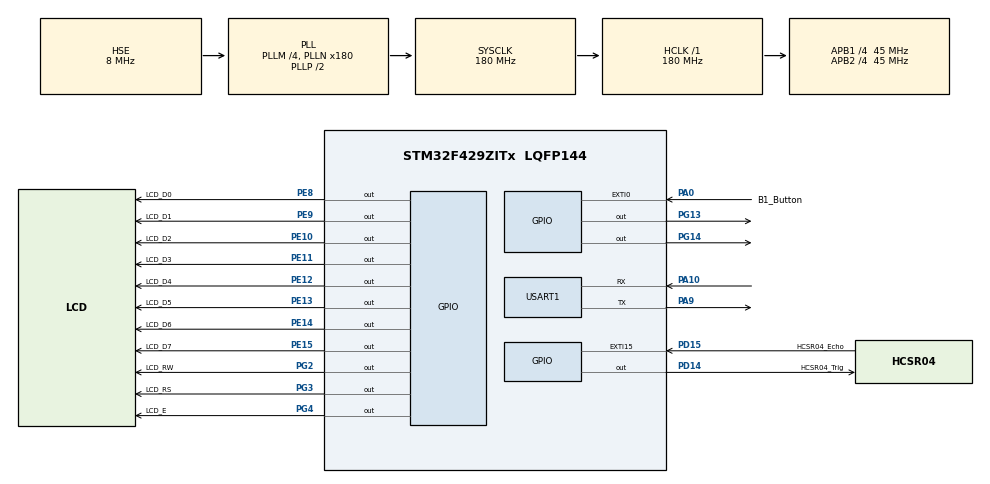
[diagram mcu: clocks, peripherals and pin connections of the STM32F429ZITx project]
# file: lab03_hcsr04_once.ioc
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Mcu.Family=STM32F4
Mcu.Name=STM32F429ZITx
Mcu.Package=LQFP144
NVIC.EXTI0_IRQn=true\:0\:0\:false\:false\:true\:true\:true\:true
NVIC.EXTI15_10_IRQn=true\:0\:0\:false\:false\:true\:true\:true\:true
NVIC.PriorityGroup=NVIC_PRIORITYGROUP_4
PA0/WKUP.GPIO_Label=B1_Button
PA0/WKUP.Signal=GPXTI0
PA10.Mode=Asynchronous
PA10.Signal=USART1_RX
PA9.Mode=Asynchronous
PA9.Signal=USART1_TX
PD14.GPIO_Label=HCSR04_Trig
PD14.Signal=GPIO_Output
PD15.GPIO_Label=HCSR04_Echo
PD15.GPIO_ModeDefaultEXTI=GPIO_MODE_IT_RISING_FALLING
PD15.Signal=GPXTI15
PE10.GPIO_Label=LCD_D2
PE10.Signal=GPIO_Output
PE11.GPIO_Label=LCD_D3
PE11.Signal=GPIO_Output
PE12.GPIO_Label=LCD_D4
PE12.Signal=GPIO_Output
PE13.GPIO_Label=LCD_D5
PE13.Signal=GPIO_Output
PE14.GPIO_Label=LCD_D6
PE14.Signal=GPIO_Output
PE15.GPIO_Label=LCD_D7
PE15.Signal=GPIO_Output
PE8.GPIO_Label=LCD_D0
PE8.Signal=GPIO_Output
PE9.GPIO_Label=LCD_D1
PE9.Signal=GPIO_Output
PG13.Signal=GPIO_Output
PG14.Signal=GPIO_Output
PG2.GPIO_Label=LCD_RW
PG2.Signal=GPIO_Output
PG3.GPIO_Label=LCD_RS
PG3.Signal=GPIO_Output
PG4.GPIO_Label=LCD_E
PG4.Signal=GPIO_Output
PH0/OSC_IN.Mode=HSE-External-Oscillator
PH0/OSC_IN.Signal=RCC_OSC_IN
PH1/OSC_OUT.Mode=HSE-External-Oscillator
PH1/OSC_OUT.Signal=RCC_OSC_OUT
ProjectManager.HeapSize=0x200
ProjectManager.StackSize=0x400
ProjectManager.TargetToolchain=STM32CubeIDE
RCC.48MHZClocksFreq_Value=90000000
RCC.AHBFreq_Value=180000000
RCC.APB1CLKDivider=RCC_HCLK_DIV4
RCC.APB1Freq_Value=45000000
RCC.APB1TimFreq_Value=90000000
RCC.APB2CLKDivider=RCC_HCLK_DIV4
RCC.APB2Freq_Value=45000000
RCC.APB2TimFreq_Value=90000000
RCC.CortexFreq_Value=180000000
RCC.HCLKFreq_Value=180000000
RCC.HSE_VALUE=8000000
RCC.HSI_VALUE=16000000
RCC.LSE_VALUE=32768
RCC.PLLM=4
RCC.PLLN=180
RCC.PLLSourceVirtual=RCC_PLLSOURCE_HSE
RCC.SYSCLKFreq_VALUE=180000000
RCC.SYSCLKSource=RCC_SYSCLKSOURCE_PLLCLK
RCC.VCOOutputFreq_Value=360000000
TIM6.Prescaler=89
USART1.VirtualMode=VM_ASYNC
VP_TIM6_VS_ClockSourceINT.Mode=Enable_Timer
board=custom

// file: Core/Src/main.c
/* USER CODE BEGIN Header */
/**
  ******************************************************************************
  * @file           : main.c
  * @brief          : Main program body
  ******************************************************************************
  * @attention
  *
  * Copyright (c) 2026 STMicroelectronics.
  * All rights reserved.
  *
  * This software is licensed under terms that can be found in the LICENSE file
  * in the root directory of this software component.
  * If no LICENSE file comes with this software, it is provided AS-IS.
  *
  ******************************************************************************
  */
/* USER CODE END Header */
#include "main.h"

/* USER CODE BEGIN Includes */
#include <stdio.h>
#include <string.h>
/* USER CODE END Includes */

TIM_HandleTypeDef htim6;

UART_HandleTypeDef huart1;

/* USER CODE BEGIN PV */
volatile uint8_t blue_button_pressed = 0;
volatile uint8_t echo_rising_captured = 0;
volatile uint32_t echo_pulse_us = 0;
volatile uint8_t echo_measurement_done = 0;

float distance_cm = 0.0f;
char uart_msg[100];
uint32_t last_button_tick = 0;

uint32_t last_measure_tick = 0;
uint8_t green_pwm_duty = 0;
/* USER CODE END PV */

void SystemClock_Config(void);
static void MX_GPIO_Init(void);
static void MX_TIM6_Init(void);
static void MX_USART1_UART_Init(void);
/* USER CODE BEGIN PFP */
void HCSR04_SendTrig(void);
float HCSR04_CalcDistanceCm(uint32_t pulse_us);
void Debug_Print(char *msg);
void DelayUs(uint16_t us);

void LCD_Set_Data(uint8_t value);
void LCD_Send_Command(uint8_t cmd);
void LCD_Write_One_Char(uint8_t c);
void LCD_Write_String(char *str);
void LCD_Goto_XY(uint8_t row, uint8_t col);
void LCD_Clear(void);
void LCD_Init(void);
/* USER CODE END PFP */

/* USER CODE BEGIN 0 */
void Debug_Print(char *msg)
{
  HAL_UART_Transmit(&huart1, (uint8_t *)msg, strlen(msg), 100);
}

void DelayUs(uint16_t us)
{
  __HAL_TIM_SET_COUNTER(&htim6, 0);
  while (__HAL_TIM_GET_COUNTER(&htim6) < us)
  {
  }
}

void HCSR04_SendTrig(void)
{
  HAL_GPIO_WritePin(HCSR04_Trig_GPIO_Port, HCSR04_Trig_Pin, GPIO_PIN_RESET);
  DelayUs(2);

  HAL_GPIO_WritePin(HCSR04_Trig_GPIO_Port, HCSR04_Trig_Pin, GPIO_PIN_SET);
  DelayUs(15);

  HAL_GPIO_WritePin(HCSR04_Trig_GPIO_Port, HCSR04_Trig_Pin, GPIO_PIN_RESET);
}

float HCSR04_CalcDistanceCm(uint32_t pulse_us)
{
  return pulse_us / 58.0f;
}

void LCD_Set_Data(uint8_t value)
{
  HAL_GPIO_WritePin(LCD_D0_GPIO_Port, LCD_D0_Pin, (value & 0x01) ? GPIO_PIN_SET : GPIO_PIN_RESET);
  HAL_GPIO_WritePin(LCD_D1_GPIO_Port, LCD_D1_Pin, (value & 0x02) ? GPIO_PIN_SET : GPIO_PIN_RESET);
  HAL_GPIO_WritePin(LCD_D2_GPIO_Port, LCD_D2_Pin, (value & 0x04) ? GPIO_PIN_SET : GPIO_PIN_RESET);
  HAL_GPIO_WritePin(LCD_D3_GPIO_Port, LCD_D3_Pin, (value & 0x08) ? GPIO_PIN_SET : GPIO_PIN_RESET);
  HAL_GPIO_WritePin(LCD_D4_GPIO_Port, LCD_D4_Pin, (value & 0x10) ? GPIO_PIN_SET : GPIO_PIN_RESET);
  HAL_GPIO_WritePin(LCD_D5_GPIO_Port, LCD_D5_Pin, (value & 0x20) ? GPIO_PIN_SET : GPIO_PIN_RESET);
  HAL_GPIO_WritePin(LCD_D6_GPIO_Port, LCD_D6_Pin, (value & 0x40) ? GPIO_PIN_SET : GPIO_PIN_RESET);
  HAL_GPIO_WritePin(LCD_D7_GPIO_Port, LCD_D7_Pin, (value & 0x80) ? GPIO_PIN_SET : GPIO_PIN_RESET);
}

void LCD_Send_Command(uint8_t cmd)
{
  LCD_Set_Data(cmd);

  HAL_GPIO_WritePin(LCD_RS_GPIO_Port, LCD_RS_Pin, GPIO_PIN_RESET);
  HAL_GPIO_WritePin(LCD_RW_GPIO_Port, LCD_RW_Pin, GPIO_PIN_RESET);

  HAL_GPIO_WritePin(LCD_E_GPIO_Port, LCD_E_Pin, GPIO_PIN_SET);
  HAL_Delay(1);
  HAL_GPIO_WritePin(LCD_E_GPIO_Port, LCD_E_Pin, GPIO_PIN_RESET);
  HAL_Delay(1);
}

void LCD_Write_One_Char(uint8_t c)
{
  LCD_Set_Data(c);

  HAL_GPIO_WritePin(LCD_RS_GPIO_Port, LCD_RS_Pin, GPIO_PIN_SET);
  HAL_GPIO_WritePin(LCD_RW_GPIO_Port, LCD_RW_Pin, GPIO_PIN_RESET);

  HAL_GPIO_WritePin(LCD_E_GPIO_Port, LCD_E_Pin, GPIO_PIN_SET);
  HAL_Delay(1);
  HAL_GPIO_WritePin(LCD_E_GPIO_Port, LCD_E_Pin, GPIO_PIN_RESET);
  HAL_Delay(1);
}

void LCD_Write_String(char *str)
{
  while (*str)
  {
    LCD_Write_One_Char((uint8_t)(*str));
    str++;
  }
}

void LCD_Goto_XY(uint8_t row, uint8_t col)
{
  if (row == 0)
  {
    LCD_Send_Command(0x80 + col);
  }
  else
  {
    LCD_Send_Command(0xC0 + col);
  }
}

void LCD_Clear(void)
{
  LCD_Send_Command(0x01);
  HAL_Delay(2);
}

void LCD_Init(void)
{
  HAL_Delay(40);

  LCD_Send_Command(0x38);
  LCD_Send_Command(0x0C);
  LCD_Send_Command(0x01);
  LCD_Send_Command(0x06);
  LCD_Send_Command(0x80);
}
/* USER CODE END 0 */

int main(void)
{

  /* MCU Configuration--------------------------------------------------------*/

  /* Reset of all peripherals, Initializes the Flash interface and the Systick. */
  HAL_Init();

  /* Configure the system clock */
  SystemClock_Config();

  /* Initialize all configured peripherals */
  MX_GPIO_Init();
  MX_TIM6_Init();
  MX_USART1_UART_Init();
  /* USER CODE BEGIN 2 */
  HAL_TIM_Base_Start(&htim6);
  HAL_GPIO_WritePin(HCSR04_Trig_GPIO_Port, HCSR04_Trig_Pin, GPIO_PIN_RESET);

  HAL_GPIO_WritePin(GPIOG, GPIO_PIN_13, GPIO_PIN_RESET);
  HAL_GPIO_WritePin(GPIOG, GPIO_PIN_14, GPIO_PIN_RESET);

  LCD_Init();
  LCD_Clear();
  LCD_Goto_XY(0, 0);
  LCD_Write_String("MINH GIANG");
  LCD_Goto_XY(1, 0);
  LCD_Write_String("Distance:      ");

  Debug_Print("HC-SR04 continuous mode started.\r\n");
  /* USER CODE END 2 */

  /* Infinite loop */
  while (1)
  {

    /* USER CODE BEGIN 3 */
	  if ((HAL_GetTick() - last_measure_tick) >= 100)
	  {
	    last_measure_tick = HAL_GetTick();

	    echo_rising_captured = 0;
	    echo_pulse_us = 0;
	    echo_measurement_done = 0;

	    HCSR04_SendTrig();
	  }

	  if (echo_measurement_done == 1)
	  {
	    uint32_t distance_x100;

	    echo_measurement_done = 0;

	    distance_cm = HCSR04_CalcDistanceCm(echo_pulse_us);
	    distance_x100 = (echo_pulse_us * 100UL) / 58UL;

	    sprintf(uart_msg,
	            "Pulse = %lu us, Distance = %lu.%02lu cm\r\n",
	            echo_pulse_us,
	            distance_x100 / 100UL,
	            distance_x100 % 100UL);
	    Debug_Print(uart_msg);

	    LCD_Goto_XY(0, 0);
	    LCD_Write_String("Distance Sensor ");

	    LCD_Goto_XY(1, 0);
	    sprintf(uart_msg, "%lu.%02lu cm      ",
	            distance_x100 / 100UL,
	            distance_x100 % 100UL);
	    LCD_Write_String(uart_msg);

	    if (distance_cm < 20.0f)
	    {
	      HAL_GPIO_WritePin(GPIOG, GPIO_PIN_14, GPIO_PIN_SET);
	      green_pwm_duty = 0;
	    }
	    else
	    {
	      HAL_GPIO_WritePin(GPIOG, GPIO_PIN_14, GPIO_PIN_RESET);

	      if (distance_cm > 50.0f)
	      {
	        green_pwm_duty = 100;
	      }
	      else
	      {
	        green_pwm_duty = (uint8_t)(((distance_cm - 20.0f) * 100.0f) / 30.0f);
	      }
	    }
	  }

	  if (green_pwm_duty >= 100)
	  {
	    HAL_GPIO_WritePin(GPIOG, GPIO_PIN_13, GPIO_PIN_SET);
	  }
	  else if (green_pwm_duty == 0)
	  {
	    HAL_GPIO_WritePin(GPIOG, GPIO_PIN_13, GPIO_PIN_RESET);
	  }
	  else
	  {
	    uint32_t pwm_phase = HAL_GetTick() % 10;
	    uint32_t pwm_on_time = (green_pwm_duty * 10U) / 100U;

	    if (pwm_phase < pwm_on_time)
	    {
	      HAL_GPIO_WritePin(GPIOG, GPIO_PIN_13, GPIO_PIN_SET);
	    }
	    else
	    {
	      HAL_GPIO_WritePin(GPIOG, GPIO_PIN_13, GPIO_PIN_RESET);
	    }
	  }
  }
  /* USER CODE END 3 */
}

void SystemClock_Config(void)
{
  RCC_OscInitTypeDef RCC_OscInitStruct = {0};
  RCC_ClkInitTypeDef RCC_ClkInitStruct = {0};

  /** Configure the main internal regulator output voltage
  */
  __HAL_RCC_PWR_CLK_ENABLE();
  __HAL_PWR_VOLTAGESCALING_CONFIG(PWR_REGULATOR_VOLTAGE_SCALE1);

  /** Initializes the RCC Oscillators according to the specified parameters
  * in the RCC_OscInitTypeDef structure.
  */
  RCC_OscInitStruct.OscillatorType = RCC_OSCILLATORTYPE_HSE;
  RCC_OscInitStruct.HSEState = RCC_HSE_ON;
  RCC_OscInitStruct.PLL.PLLState = RCC_PLL_ON;
  RCC_OscInitStruct.PLL.PLLSource = RCC_PLLSOURCE_HSE;
  RCC_OscInitStruct.PLL.PLLM = 4;
  RCC_OscInitStruct.PLL.PLLN = 180;
  RCC_OscInitStruct.PLL.PLLP = RCC_PLLP_DIV2;
  RCC_OscInitStruct.PLL.PLLQ = 4;
  if (HAL_RCC_OscConfig(&RCC_OscInitStruct) != HAL_OK)
  {
    Error_Handler();
  }

  /** Activate the Over-Drive mode
  */
  if (HAL_PWREx_EnableOverDrive() != HAL_OK)
  {
    Error_Handler();
  }

  /** Initializes the CPU, AHB and APB buses clocks
  */
  RCC_ClkInitStruct.ClockType = RCC_CLOCKTYPE_HCLK|RCC_CLOCKTYPE_SYSCLK
                              |RCC_CLOCKTYPE_PCLK1|RCC_CLOCKTYPE_PCLK2;
  RCC_ClkInitStruct.SYSCLKSource = RCC_SYSCLKSOURCE_PLLCLK;
  RCC_ClkInitStruct.AHBCLKDivider = RCC_SYSCLK_DIV1;
  RCC_ClkInitStruct.APB1CLKDivider = RCC_HCLK_DIV4;
  RCC_ClkInitStruct.APB2CLKDivider = RCC_HCLK_DIV4;

  if (HAL_RCC_ClockConfig(&RCC_ClkInitStruct, FLASH_LATENCY_5) != HAL_OK)
  {
    Error_Handler();
  }
}

static void MX_TIM6_Init(void)
{

  TIM_MasterConfigTypeDef sMasterConfig = {0};

  htim6.Instance = TIM6;
  htim6.Init.Prescaler = 89;
  htim6.Init.CounterMode = TIM_COUNTERMODE_UP;
  htim6.Init.Period = 65535;
  htim6.Init.AutoReloadPreload = TIM_AUTORELOAD_PRELOAD_DISABLE;
  if (HAL_TIM_Base_Init(&htim6) != HAL_OK)
  {
    Error_Handler();
  }
  sMasterConfig.MasterOutputTrigger = TIM_TRGO_RESET;
  sMasterConfig.MasterSlaveMode = TIM_MASTERSLAVEMODE_DISABLE;
  if (HAL_TIMEx_MasterConfigSynchronization(&htim6, &sMasterConfig) != HAL_OK)
  {
    Error_Handler();
  }

}

static void MX_USART1_UART_Init(void)
{

  huart1.Instance = USART1;
  huart1.Init.BaudRate = 115200;
  huart1.Init.WordLength = UART_WORDLENGTH_8B;
  huart1.Init.StopBits = UART_STOPBITS_1;
  huart1.Init.Parity = UART_PARITY_NONE;
  huart1.Init.Mode = UART_MODE_TX_RX;
  huart1.Init.HwFlowCtl = UART_HWCONTROL_NONE;
  huart1.Init.OverSampling = UART_OVERSAMPLING_16;
  if (HAL_UART_Init(&huart1) != HAL_OK)
  {
    Error_Handler();
  }

}

static void MX_GPIO_Init(void)
{
  GPIO_InitTypeDef GPIO_InitStruct = {0};

  /* GPIO Ports Clock Enable */
  __HAL_RCC_GPIOH_CLK_ENABLE();
  __HAL_RCC_GPIOA_CLK_ENABLE();
  __HAL_RCC_GPIOE_CLK_ENABLE();
  __HAL_RCC_GPIOD_CLK_ENABLE();
  __HAL_RCC_GPIOG_CLK_ENABLE();

  /*Configure GPIO pin Output Level */
  HAL_GPIO_WritePin(GPIOE, LCD_D0_Pin|LCD_D1_Pin|LCD_D2_Pin|LCD_D3_Pin
                          |LCD_D4_Pin|LCD_D5_Pin|LCD_D6_Pin|LCD_D7_Pin, GPIO_PIN_RESET);

  /*Configure GPIO pin Output Level */
  HAL_GPIO_WritePin(HCSR04_Trig_GPIO_Port, HCSR04_Trig_Pin, GPIO_PIN_RESET);

  /*Configure GPIO pin Output Level */
  HAL_GPIO_WritePin(GPIOG, LCD_RW_Pin|LCD_RS_Pin|LCD_E_Pin|GPIO_PIN_13
                          |GPIO_PIN_14, GPIO_PIN_RESET);

  /*Configure GPIO pin : B1_Button_Pin */
  GPIO_InitStruct.Pin = B1_Button_Pin;
  GPIO_InitStruct.Mode = GPIO_MODE_IT_RISING;
  GPIO_InitStruct.Pull = GPIO_NOPULL;
  HAL_GPIO_Init(B1_Button_GPIO_Port, &GPIO_InitStruct);

  /*Configure GPIO pins : LCD_D0_Pin LCD_D1_Pin LCD_D2_Pin LCD_D3_Pin
                           LCD_D4_Pin LCD_D5_Pin LCD_D6_Pin LCD_D7_Pin */
  GPIO_InitStruct.Pin = LCD_D0_Pin|LCD_D1_Pin|LCD_D2_Pin|LCD_D3_Pin
                          |LCD_D4_Pin|LCD_D5_Pin|LCD_D6_Pin|LCD_D7_Pin;
  GPIO_InitStruct.Mode = GPIO_MODE_OUTPUT_PP;
  GPIO_InitStruct.Pull = GPIO_NOPULL;
  GPIO_InitStruct.Speed = GPIO_SPEED_FREQ_LOW;
  HAL_GPIO_Init(GPIOE, &GPIO_InitStruct);

  /*Configure GPIO pin : HCSR04_Trig_Pin */
  GPIO_InitStruct.Pin = HCSR04_Trig_Pin;
  GPIO_InitStruct.Mode = GPIO_MODE_OUTPUT_PP;
  GPIO_InitStruct.Pull = GPIO_NOPULL;
  GPIO_InitStruct.Speed = GPIO_SPEED_FREQ_LOW;
  HAL_GPIO_Init(HCSR04_Trig_GPIO_Port, &GPIO_InitStruct);

  /*Configure GPIO pin : HCSR04_Echo_Pin */
  GPIO_InitStruct.Pin = HCSR04_Echo_Pin;
  GPIO_InitStruct.Mode = GPIO_MODE_IT_RISING_FALLING;
  GPIO_InitStruct.Pull = GPIO_NOPULL;
  HAL_GPIO_Init(HCSR04_Echo_GPIO_Port, &GPIO_InitStruct);

  /*Configure GPIO pins : LCD_RW_Pin LCD_RS_Pin LCD_E_Pin PG13
                           PG14 */
  GPIO_InitStruct.Pin = LCD_RW_Pin|LCD_RS_Pin|LCD_E_Pin|GPIO_PIN_13
                          |GPIO_PIN_14;
  GPIO_InitStruct.Mode = GPIO_MODE_OUTPUT_PP;
  GPIO_InitStruct.Pull = GPIO_NOPULL;
  GPIO_InitStruct.Speed = GPIO_SPEED_FREQ_LOW;
  HAL_GPIO_Init(GPIOG, &GPIO_InitStruct);

  /* EXTI interrupt init*/
  HAL_NVIC_SetPriority(EXTI0_IRQn, 0, 0);
  HAL_NVIC_EnableIRQ(EXTI0_IRQn);

  HAL_NVIC_SetPriority(EXTI15_10_IRQn, 0, 0);
  HAL_NVIC_EnableIRQ(EXTI15_10_IRQn);

}

/* USER CODE BEGIN 4 */
void HAL_GPIO_EXTI_Callback(uint16_t GPIO_Pin)
{
  if (GPIO_Pin == B1_Button_Pin)
  {
    uint32_t now = HAL_GetTick();

    if ((now - last_button_tick) > 200)
    {
      blue_button_pressed = 1;
      last_button_tick = now;
    }
  }

  if (GPIO_Pin == HCSR04_Echo_Pin)
  {
    if (HAL_GPIO_ReadPin(HCSR04_Echo_GPIO_Port, HCSR04_Echo_Pin) == GPIO_PIN_SET)
    {
      __HAL_TIM_SET_COUNTER(&htim6, 0);
      echo_rising_captured = 1;
    }
    else
    {
      if (echo_rising_captured == 1)
      {
        echo_pulse_us = __HAL_TIM_GET_COUNTER(&htim6);
        echo_rising_captured = 0;
        echo_measurement_done = 1;
      }
    }
  }
}
/* USER CODE END 4 */

void Error_Handler(void)
{
  __disable_irq();
  while (1)
  {
  }
}
